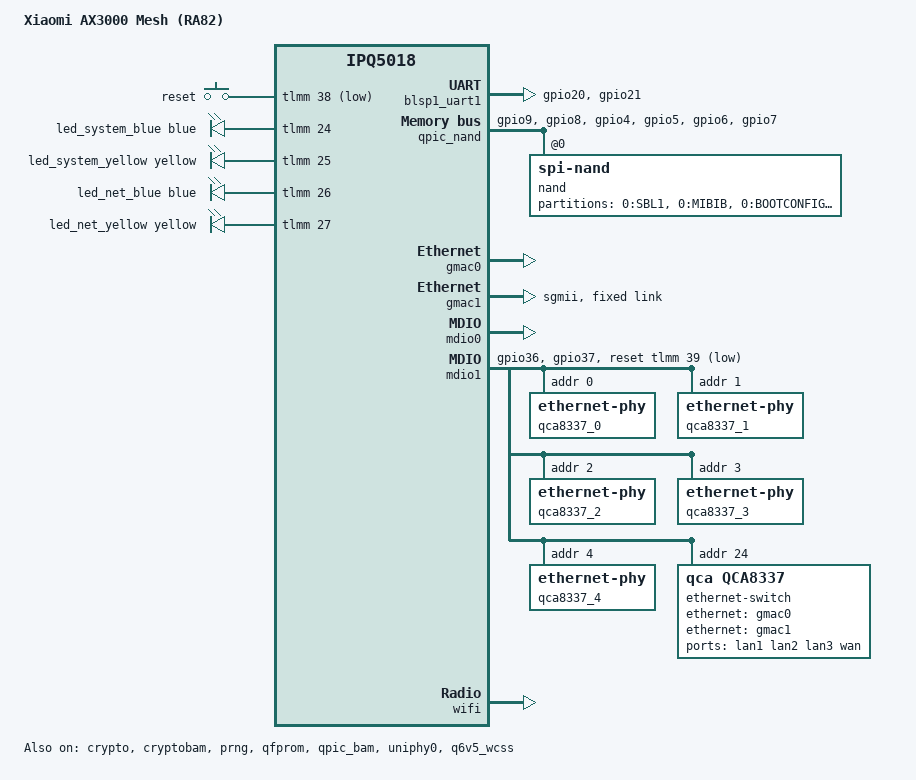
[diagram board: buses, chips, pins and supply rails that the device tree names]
// SPDX-License-Identifier: (GPL-2.0+)

/dts-v1/;

#include "ipq5018.dtsi"
#include "ipq5018-ess.dtsi"

#include <dt-bindings/gpio/gpio.h>
#include <dt-bindings/input/input.h>
#include <dt-bindings/leds/common.h>

/ {
	model = "Xiaomi AX3000 Mesh (RA82)";
	compatible = "xiaomi,ra82", "qcom,ipq5018";

	aliases {
		label-mac-device = &gmac0;
		led-boot = &led_system_blue;
		led-failsafe = &led_system_yellow;
		led-running = &led_system_blue;
		led-upgrade = &led_system_yellow;
		serial0 = &blsp1_uart1;
	};

	chosen {
		bootargs-append = " root=/dev/ubiblock0_1 swiotlb=1 coherent_pool=2M";
		stdout-path = "serial0:115200n8";
	};

	keys {
		compatible = "gpio-keys";

		pinctrl-0 = <&button_pins>;
		pinctrl-names = "default";

		reset-button {
			label = "reset";
			gpios = <&tlmm 38 GPIO_ACTIVE_LOW>;
			linux,code = <KEY_RESTART>;
		};
	};

	leds {
		compatible = "gpio-leds";

		pinctrl-0 = <&leds_pins>;
		pinctrl-names = "default";

		led_system_blue: system-blue {
			color = <LED_COLOR_ID_BLUE>;
			function = LED_FUNCTION_POWER;
			gpios = <&tlmm 24 GPIO_ACTIVE_HIGH>;
			default-state = "on";
		};

		led_system_yellow: system-yellow {
			color = <LED_COLOR_ID_YELLOW>;
			function = LED_FUNCTION_POWER;
			gpios = <&tlmm 25 GPIO_ACTIVE_HIGH>;
		};

		led_net_blue: net-blue {
			color = <LED_COLOR_ID_BLUE>;
			function = LED_FUNCTION_WAN_ONLINE;
			gpios = <&tlmm 26 GPIO_ACTIVE_HIGH>;
		};

		led_net_yellow: net-yellow {
			color = <LED_COLOR_ID_YELLOW>;
			function = LED_FUNCTION_WAN;
			gpios = <&tlmm 27 GPIO_ACTIVE_HIGH>;
		};
	};
};

&sleep_clk {
	clock-frequency = <32000>;
};

&xo_board_clk {
	clock-div = <4>;
	clock-mult = <1>;
};

&blsp1_uart1 {
	status = "okay";

	pinctrl-0 = <&serial_0_pins>;
	pinctrl-names = "default";
};

&crypto { status = "okay"; };
&cryptobam { status = "okay"; };
&prng { status = "okay"; };
&qfprom { status = "okay"; };
&qpic_bam { status = "okay"; };

&qpic_nand {
	pinctrl-0 = <&qpic_pins>;
	pinctrl-names = "default";
	status = "okay";

	nand@0 {
		compatible = "spi-nand";
		reg = <0>;
		nand-ecc-engine = <&qpic_nand>;
		nand-bus-width = <8>;

		partitions {
			compatible = "fixed-partitions";
			#address-cells = <1>;
			#size-cells = <1>;

			partition@0       { label = "0:SBL1";        reg = <0x00000000 0x80000>; read-only; };
			partition@80000   { label = "0:MIBIB";       reg = <0x00080000 0x80000>; read-only; };
			partition@100000  { label = "0:BOOTCONFIG";  reg = <0x00100000 0x40000>; read-only; };
			partition@140000  { label = "0:BOOTCONFIG1"; reg = <0x00140000 0x40000>; read-only; };
			partition@180000  { label = "0:QSEE";        reg = <0x00180000 0x100000>; read-only; };
			partition@280000  { label = "0:QSEE_1";      reg = <0x00280000 0x100000>; read-only; };
			partition@380000  { label = "0:DEVCFG";      reg = <0x00380000 0x40000>; read-only; };
			partition@3c0000  { label = "0:DEVCFG_1";    reg = <0x003c0000 0x40000>; read-only; };
			partition@400000  { label = "0:CDT";         reg = <0x00400000 0x40000>; read-only; };
			partition@440000  { label = "0:CDT_1";       reg = <0x00440000 0x40000>; read-only; };
			partition@480000  { label = "0:APPSBLENV";   reg = <0x00480000 0x80000>; };
			partition@500000  { label = "0:APPSBL_1";    reg = <0x00500000 0x140000>; read-only; };
			partition@640000  { label = "0:APPSBL";      reg = <0x00640000 0x140000>; read-only; };
			partition@780000  { label = "0:ART";         reg = <0x00780000 0x100000>; read-only; };
			partition@880000  { label = "0:TRAINING";    reg = <0x00880000 0x80000>; read-only; };
			partition@900000  { label = "bdata";         reg = <0x00900000 0x80000>; };
			partition@980000  { label = "crash";         reg = <0x00980000 0x80000>; };
			partition@a00000  { label = "crash_syslog";  reg = <0x00a00000 0x80000>; };
			partition@a80000  { label = "rootfs";        reg = <0x00a80000 0x2400000>; };
			partition@2e80000 { label = "rootfs_1";      reg = <0x02e80000 0x2400000>; };
			partition@5280000 { label = "overlay";       reg = <0x05280000 0x1f00000>; };
		};
	};
};

&uniphy0 {
	status = "okay";

	assigned-clocks = <&uniphy0 UNIPHY_CLK_REF>;
	assigned-clock-rates = <UNIPHY_REFCLK_25MHZ>;
};

&gmac0 {
	status = "okay";
};

&gmac1 {
	status = "okay";

	phy-mode = "sgmii";

	fixed-link {
		speed = <1000>;
		full-duplex;
	};
};

&mdio0 {
	status = "okay";
};

&ge_phy {
	qcom,dac-preset-short-cable;
};

&mdio1 {
	status = "okay";

	pinctrl-0 = <&mdio1_pins>;
	pinctrl-names = "default";
	reset-gpios = <&tlmm 39 GPIO_ACTIVE_LOW>;

	qca8337_0: ethernet-phy@0 { reg = <0>; };
	qca8337_1: ethernet-phy@1 { reg = <1>; };
	qca8337_2: ethernet-phy@2 { reg = <2>; };
	qca8337_3: ethernet-phy@3 { reg = <3>; };
	qca8337_4: ethernet-phy@4 { reg = <4>; };

	ethernet-switch@18 {
		compatible = "qca,qca8337";
		reg = <0x18>;
		#address-cells = <1>;
		#size-cells = <0>;

		ports {
			#address-cells = <1>;
			#size-cells = <0>;

			port@1 {
				reg = <1>;
				label = "lan1";
				phy-handle = <&qca8337_0>;
			};

			port@2 {
				reg = <2>;
				label = "lan2";
				phy-handle = <&qca8337_1>;
			};

			port@3 {
				reg = <3>;
				label = "lan3";
				phy-handle = <&qca8337_2>;
			};

			port@4 {
				reg = <4>;
				label = "wan";
				phy-handle = <&qca8337_3>;
			};

			port@5 {
				reg = <5>;
				phy-handle = <&qca8337_4>;
				phy-mode = "gmii";
				ethernet = <&gmac0>;
			};

			port@6 {
				reg = <6>;
				phy-mode = "sgmii";
				ethernet = <&gmac1>;
				qca,sgmii-enable-pll;

				fixed-link {
					speed = <1000>;
					full-duplex;
				};
			};
		};
	};
};

&tlmm {
	button_pins: button-state {
		pins = "gpio38";
		function = "gpio";
		drive-strength = <8>;
		bias-pull-up;
	};

	leds_pins: leds-state {
		pins = "gpio24", "gpio25", "gpio26", "gpio27";
		function = "gpio";
		drive-strength = <8>;
		bias-pull-down;
	};

	mdio1_pins: mdio-state {
		mdc-pins {
			pins = "gpio36";
			function = "mdc";
			drive-strength = <8>;
			bias-pull-up;
		};

		mdio-pins {
			pins = "gpio37";
			function = "mdio";
			drive-strength = <8>;
			bias-pull-up;
		};
	};

	qpic_pins: qpic-state {
		clock-pins {
			pins = "gpio9";
			function = "qspi_clk";
			drive-strength = <8>;
			bias-disable;
		};

		cs-pins {
			pins = "gpio8";
			function = "qspi_cs";
			drive-strength = <8>;
			bias-disable;
		};

		data-pins {
			pins = "gpio4", "gpio5", "gpio6", "gpio7";
			function = "qspi_data";
			drive-strength = <8>;
			bias-disable;
		};
	};

	serial_0_pins: uart0-state {
		pins = "gpio20", "gpio21";
		function = "blsp0_uart0";
		bias-disable;
	};
};

&q6v5_wcss {
	status = "okay";
	firmware-name = "ath11k/IPQ5018/hw1.0/q6_fw.mdt",
			"ath11k/IPQ5018/hw1.0/m3_fw.mdt";
};

&wifi {
	status = "okay";
	qcom,rproc = <&q6v5_wcss>;
};
